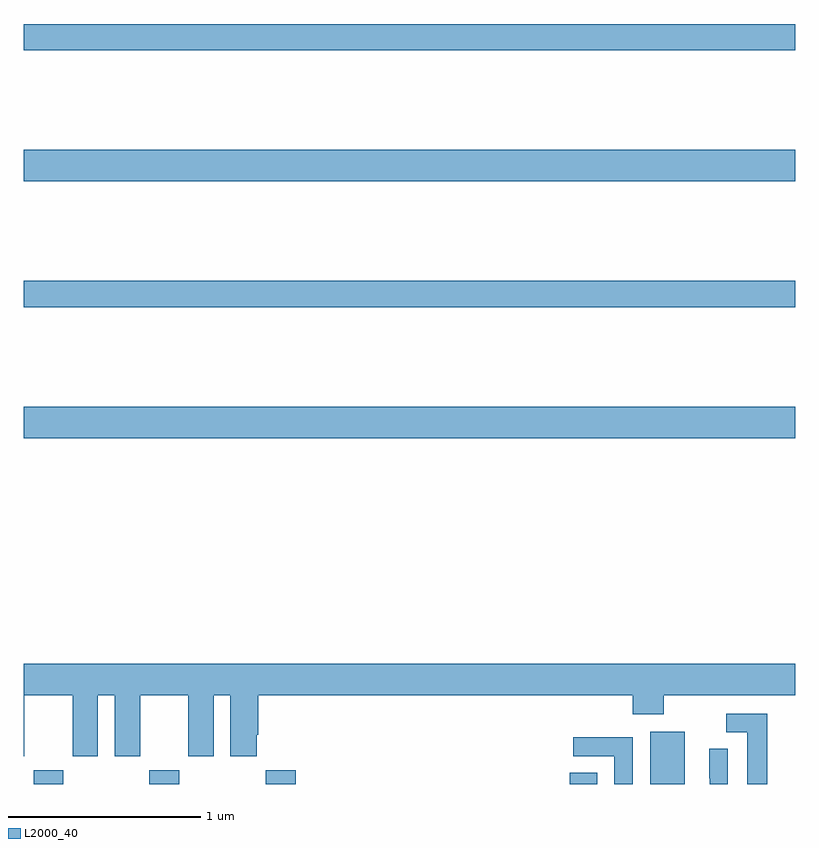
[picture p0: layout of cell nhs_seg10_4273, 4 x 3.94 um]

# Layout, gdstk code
import gdstk
lib = gdstk.Library(unit=1e-6, precision=1e-09)
def R(c, l, rs):  # rectangles x0, y0, x1, y1
    for r in rs: c.add(gdstk.rectangle(r[:2], r[2:], *l))
def P(c, l, *ps):  # polygons
    for p in ps: c.add(gdstk.Polygon(p, *l))
L2000_40 = (2000, 40)

nhs_seg10_4273 = lib.new_cell('nhs_seg10_4273')
R(nhs_seg10_4273, L2000_40, [(349.051,1322.5,349.206,1322.572), (349.651,1322.5,349.806,1322.572), (350.255,1322.5,350.411,1322.572), (351.83,1322.5,351.973,1322.558), (352.247,1322.5,352.426,1322.77), (349,1324.292,353,1324.456), (349,1324.972,353,1325.108), (349,1325.624,353,1325.788), (349,1326.304,353,1326.44)])
P(nhs_seg10_4273, L2000_40, [(349,1322.643),(349.003,1322.643),(349.003,1322.96),(349.253,1322.96),(349.253,1322.643),(349.384,1322.643),(349.384,1322.96),(349.472,1322.96),(349.472,1322.643),(349.603,1322.643),(349.603,1322.96),(349.853,1322.96),(349.853,1322.643),(349.984,1322.643),(349.984,1322.96),(350.072,1322.96),(350.072,1322.643),(350.209,1322.643),(350.209,1322.755),(350.216,1322.755),(350.216,1322.96),(352.157,1322.96),(352.157,1322.861),(352.317,1322.861),(352.317,1322.96),(353,1322.96),(353,1323.124),(349,1323.124)],
  [(352.855,1322.865),(352.641,1322.865),(352.641,1322.769),(352.751,1322.769),(352.751,1322.5),(352.855,1322.5)],
  [(352.158,1322.742),(351.849,1322.742),(351.849,1322.643),(352.062,1322.643),(352.062,1322.5),(352.158,1322.5)],
  [(352.65,1322.684),(352.554,1322.684),(352.554,1322.53),(352.556,1322.53),(352.556,1322.5),(352.65,1322.5)])

lib.write_gds('nhs_seg10_4273.gds')
